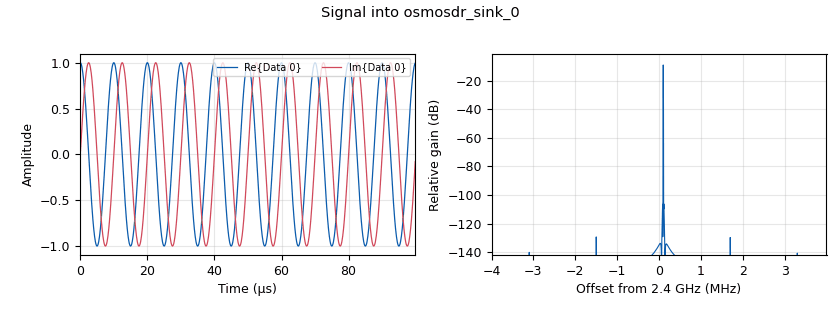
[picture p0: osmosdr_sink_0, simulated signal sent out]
options:
  parameters:
    author: btfz
    generate_options: qt_gui
    id: hackrf_send
    output_language: python
    title: hackrf_send
  states: {}

blocks:
- name: freq
  id: variable_qtgui_range
  parameters:
    label: freq
    rangeType: int
    start: '100000'
    step: '2000'
    stop: '400000'
    value: '100000'
  states: {}
- name: samp_rate
  id: variable
  parameters:
    value: '8000000'
  states: {}
- name: tx_attenuation
  id: variable_qtgui_range
  parameters:
    rangeType: int
    start: '0'
    step: '1'
    stop: '47'
    value: '30'
  states: {}
- name: analog_sig_source_x_0
  id: analog_sig_source_x
  parameters:
    amp: '1'
    freq: freq
    offset: '0'
    phase: '0'
    samp_rate: samp_rate
    type: complex
    waveform: analog.GR_COS_WAVE
  states: {}
- name: osmosdr_sink_0
  id: osmosdr_sink
  parameters:
    args: '"hackrf=0"'
    bb_gain0: '0'
    comment: |-
      HackRF One 官方推荐的最小采样率为 8 MS/s，最低也建议不低于 2 MS/s。
      IF 设置的 1 MS/s 低于这个范围，可能会导致 HackRF 硬件的内部抗混叠滤波器效果不佳，
      甚至 HackRF 驱动可能内部强制使用一个更高的采样率（例如 2 MS/s 或 4 MS/s）
      然后进行重采样（Resample）或填充（Padding），但这取决于驱动/固件的具体实现。
    freq0: 2.4e9
    gain0: '0'
    if_gain0: tx_attenuation
    sample_rate: samp_rate
    sync: none
    type: fc32
  states: {}

connections:
- [analog_sig_source_x_0, '0', osmosdr_sink_0, '0']

metadata:
  file_format: 1
  grc_version: 3.10.9.2
